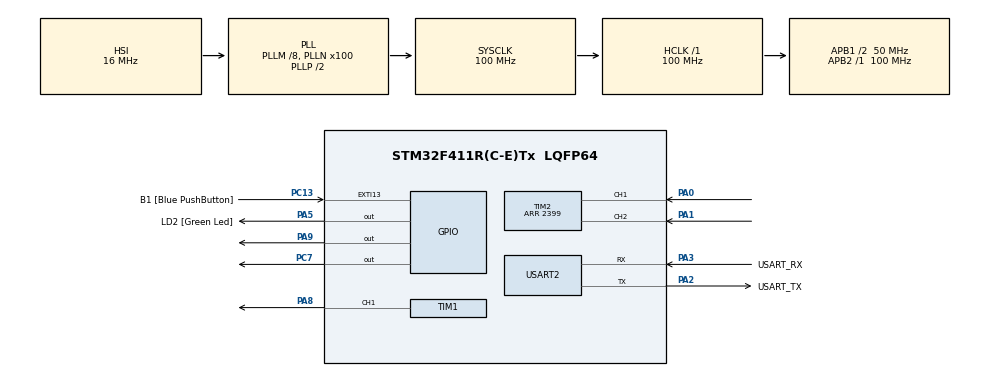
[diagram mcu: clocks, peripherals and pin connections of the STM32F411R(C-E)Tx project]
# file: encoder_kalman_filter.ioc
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Mcu.Family=STM32F4
Mcu.Name=STM32F411R(C-E)Tx
Mcu.Package=LQFP64
NVIC.EXTI15_10_IRQn=true\:0\:0\:false\:false\:true\:true\:true\:true
NVIC.PriorityGroup=NVIC_PRIORITYGROUP_0
NVIC.TIM1_BRK_TIM9_IRQn=true\:0\:0\:false\:false\:true\:true\:true\:true
NVIC.TIM1_TRG_COM_TIM11_IRQn=true\:0\:0\:false\:false\:true\:true\:true\:true
NVIC.TIM5_IRQn=true\:0\:0\:false\:false\:true\:true\:true\:true
NVIC.USART2_IRQn=true\:0\:0\:false\:false\:true\:true\:true\:true
PA0-WKUP.Signal=S_TIM2_CH1_ETR
PA1.Signal=S_TIM2_CH2
PA13.GPIO_Label=TMS
PA13.Mode=Serial_Wire
PA13.Signal=SYS_JTMS-SWDIO
PA14.GPIO_Label=TCK
PA14.Mode=Serial_Wire
PA14.Signal=SYS_JTCK-SWCLK
PA2.GPIO_Label=USART_TX
PA2.Mode=Asynchronous
PA2.Signal=USART2_TX
PA3.GPIO_Label=USART_RX
PA3.Mode=Asynchronous
PA3.Signal=USART2_RX
PA5.GPIO_Label=LD2 [Green Led]
PA5.Signal=GPIO_Output
PA8.Signal=S_TIM1_CH1
PA9.GPIO_ModeDefaultOutputPP=GPIO_MODE_OUTPUT_OD
PA9.GPIO_PuPd=GPIO_PULLUP
PA9.Signal=GPIO_Output
PB3.GPIO_Label=SWO
PB3.Signal=SYS_JTDO-SWO
PC13-ANTI_TAMP.GPIO_Label=B1 [Blue PushButton]
PC13-ANTI_TAMP.GPIO_ModeDefaultEXTI=GPIO_MODE_IT_FALLING
PC13-ANTI_TAMP.Signal=GPXTI13
PC14-OSC32_IN.Mode=LSE-External-Oscillator
PC14-OSC32_IN.Signal=RCC_OSC32_IN
PC15-OSC32_OUT.Mode=LSE-External-Oscillator
PC15-OSC32_OUT.Signal=RCC_OSC32_OUT
PC7.GPIO_ModeDefaultOutputPP=GPIO_MODE_OUTPUT_OD
PC7.GPIO_PuPd=GPIO_PULLUP
PC7.Signal=GPIO_Output
PH0\ -\ OSC_IN.Mode=HSE-External-Clock-Source
PH0\ -\ OSC_IN.Signal=RCC_OSC_IN
PH1\ -\ OSC_OUT.Mode=HSE-External-Clock-Source
PH1\ -\ OSC_OUT.Signal=RCC_OSC_OUT
ProjectManager.HeapSize=0x200
ProjectManager.StackSize=0x400
ProjectManager.TargetToolchain=STM32CubeIDE
RCC.48MHZClocksFreq_Value=50000000
RCC.AHBFreq_Value=100000000
RCC.APB1CLKDivider=RCC_HCLK_DIV2
RCC.APB1Freq_Value=50000000
RCC.APB1TimFreq_Value=100000000
RCC.APB2Freq_Value=100000000
RCC.APB2TimFreq_Value=100000000
RCC.CortexFreq_Value=100000000
RCC.FLatency-AdvancedSettings=FLASH_LATENCY_3
RCC.HCLKFreq_Value=100000000
RCC.HSE_VALUE=8000000
RCC.HSI_VALUE=16000000
RCC.PLLM=8
RCC.PLLN=100
RCC.SYSCLKFreq_VALUE=100000000
RCC.SYSCLKSource=RCC_SYSCLKSOURCE_PLLCLK
RCC.VCOOutputFreq_Value=200000000
SH.S_TIM1_CH1.0=TIM1_CH1,PWM Generation1 CH1
SH.S_TIM2_CH1_ETR.0=TIM2_CH1,Encoder_Interface
SH.S_TIM2_CH2.0=TIM2_CH2,Encoder_Interface
TIM1.Channel-PWM\ Generation1\ CH1=TIM_CHANNEL_1
TIM1.Period=9999
TIM1.Prescaler=99
TIM2.EncoderMode=TIM_ENCODERMODE_TI12
TIM2.IC1Filter=2
TIM2.IC1Polarity=TIM_ICPOLARITY_FALLING
TIM2.IC2Filter=2
TIM2.IC2Polarity=TIM_ICPOLARITY_FALLING
TIM2.Period=2399
TIM5.Period=999
TIM5.Prescaler=99
TIM9.Period=9999
TIM9.Prescaler=99
USART2.VirtualMode=VM_ASYNC
VP_TIM1_VS_ClockSourceINT.Mode=Internal
VP_TIM5_VS_ClockSourceINT.Mode=Internal
VP_TIM9_VS_ClockSourceINT.Mode=Internal
board=NUCLEO-F411RE

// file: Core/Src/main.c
/* USER CODE BEGIN Header */
/**
  ******************************************************************************
  * @file           : main.c
  * @brief          : Main program body
  ******************************************************************************
  * @attention
  *
  * Copyright (c) 2022 STMicroelectronics.
  * All rights reserved.
  *
  * This software is licensed under terms that can be found in the LICENSE file
  * in the root directory of this software component.
  * If no LICENSE file comes with this software, it is provided AS-IS.
  *
  ******************************************************************************
  */
/* USER CODE END Header */
#include "main.h"

/* USER CODE BEGIN Includes */
#include "math.h"
/* USER CODE END Includes */

TIM_HandleTypeDef htim1;
TIM_HandleTypeDef htim2;
TIM_HandleTypeDef htim5;
TIM_HandleTypeDef htim9;

UART_HandleTypeDef huart2;

/* USER CODE BEGIN PV */
float Nowdegrees = 0;
float Nowrads =0;

float GetRealdegrees();
float GetRealrads();

int PWM=3000;
void Drivemotor();

int PWMm=0;

//for uart
uint8_t datauartSetup[]={73,109,64,99,0b00010001, 16,1,1,42,42, 64,8,8,8,8,8,8,8,8,42,42, 8,64,42,42, 242,77,97,8,99,104,105,78,42,126, 42,42,16,1,1, 126,126};
uint8_t datauartSetup2[]={73,109,64,99,0b00010010, 8,43,42,42 , 242,32,77,97,8,99,104,105,78,42,126, 42,42, 18,88,42,42 ,111,32,32,32,32,42,42, 222,64,64,64,64,64,64,64,64,42,42, 8,42,   126,126};
//uint8_t datauartEncoder[]={73,109,64,99,0b00010011, 222,0,0,0,0,0,0,0,0,42,42 ,222,0,0,0,0,0,0,0,0,126,126};
uint8_t datauartEncoder[]={73,109,64,99,0b00010011, 16,1,1,126,126};
void sendUartToROS2();
/* USER CODE END PV */

void SystemClock_Config(void);
static void MX_GPIO_Init(void);
static void MX_USART2_UART_Init(void);
static void MX_TIM2_Init(void);
static void MX_TIM1_Init(void);
static void MX_TIM5_Init(void);
static void MX_TIM9_Init(void);

int main(void)
{

  /* MCU Configuration--------------------------------------------------------*/

  /* Reset of all peripherals, Initializes the Flash interface and the Systick. */
  HAL_Init();

  /* Configure the system clock */
  SystemClock_Config();

  /* Initialize all configured peripherals */
  MX_GPIO_Init();
  MX_USART2_UART_Init();
  MX_TIM2_Init();
  MX_TIM1_Init();
  MX_TIM5_Init();
  MX_TIM9_Init();
  /* USER CODE BEGIN 2 */

  HAL_TIM_Encoder_Start(&htim2, TIM_CHANNEL_ALL);
  HAL_TIM_Base_Start_IT(&htim5);
  HAL_TIM_PWM_Start(&htim1, TIM_CHANNEL_1);

  HAL_TIM_Base_Start_IT(&htim9);

  /* USER CODE END 2 */

  /* Infinite loop */
  /* USER CODE BEGIN WHILE */
  while (1)
  {

	  Nowdegrees=GetRealdegrees();
	  Nowrads=GetRealrads();
	  Drivemotor(PWMm);

    /* USER CODE END WHILE */

  }
}

void SystemClock_Config(void)
{
  RCC_OscInitTypeDef RCC_OscInitStruct = {0};
  RCC_ClkInitTypeDef RCC_ClkInitStruct = {0};

  /** Configure the main internal regulator output voltage
  */
  __HAL_RCC_PWR_CLK_ENABLE();
  __HAL_PWR_VOLTAGESCALING_CONFIG(PWR_REGULATOR_VOLTAGE_SCALE1);
  /** Initializes the RCC Oscillators according to the specified parameters
  * in the RCC_OscInitTypeDef structure.
  */
  RCC_OscInitStruct.OscillatorType = RCC_OSCILLATORTYPE_HSI;
  RCC_OscInitStruct.HSIState = RCC_HSI_ON;
  RCC_OscInitStruct.HSICalibrationValue = RCC_HSICALIBRATION_DEFAULT;
  RCC_OscInitStruct.PLL.PLLState = RCC_PLL_ON;
  RCC_OscInitStruct.PLL.PLLSource = RCC_PLLSOURCE_HSI;
  RCC_OscInitStruct.PLL.PLLM = 8;
  RCC_OscInitStruct.PLL.PLLN = 100;
  RCC_OscInitStruct.PLL.PLLP = RCC_PLLP_DIV2;
  RCC_OscInitStruct.PLL.PLLQ = 4;
  if (HAL_RCC_OscConfig(&RCC_OscInitStruct) != HAL_OK)
  {
    Error_Handler();
  }
  /** Initializes the CPU, AHB and APB buses clocks
  */
  RCC_ClkInitStruct.ClockType = RCC_CLOCKTYPE_HCLK|RCC_CLOCKTYPE_SYSCLK
                              |RCC_CLOCKTYPE_PCLK1|RCC_CLOCKTYPE_PCLK2;
  RCC_ClkInitStruct.SYSCLKSource = RCC_SYSCLKSOURCE_PLLCLK;
  RCC_ClkInitStruct.AHBCLKDivider = RCC_SYSCLK_DIV1;
  RCC_ClkInitStruct.APB1CLKDivider = RCC_HCLK_DIV2;
  RCC_ClkInitStruct.APB2CLKDivider = RCC_HCLK_DIV1;

  if (HAL_RCC_ClockConfig(&RCC_ClkInitStruct, FLASH_LATENCY_3) != HAL_OK)
  {
    Error_Handler();
  }
}

static void MX_TIM1_Init(void)
{

  TIM_ClockConfigTypeDef sClockSourceConfig = {0};
  TIM_MasterConfigTypeDef sMasterConfig = {0};
  TIM_OC_InitTypeDef sConfigOC = {0};
  TIM_BreakDeadTimeConfigTypeDef sBreakDeadTimeConfig = {0};

  htim1.Instance = TIM1;
  htim1.Init.Prescaler = 99;
  htim1.Init.CounterMode = TIM_COUNTERMODE_UP;
  htim1.Init.Period = 9999;
  htim1.Init.ClockDivision = TIM_CLOCKDIVISION_DIV1;
  htim1.Init.RepetitionCounter = 0;
  htim1.Init.AutoReloadPreload = TIM_AUTORELOAD_PRELOAD_DISABLE;
  if (HAL_TIM_Base_Init(&htim1) != HAL_OK)
  {
    Error_Handler();
  }
  sClockSourceConfig.ClockSource = TIM_CLOCKSOURCE_INTERNAL;
  if (HAL_TIM_ConfigClockSource(&htim1, &sClockSourceConfig) != HAL_OK)
  {
    Error_Handler();
  }
  if (HAL_TIM_PWM_Init(&htim1) != HAL_OK)
  {
    Error_Handler();
  }
  sMasterConfig.MasterOutputTrigger = TIM_TRGO_RESET;
  sMasterConfig.MasterSlaveMode = TIM_MASTERSLAVEMODE_DISABLE;
  if (HAL_TIMEx_MasterConfigSynchronization(&htim1, &sMasterConfig) != HAL_OK)
  {
    Error_Handler();
  }
  sConfigOC.OCMode = TIM_OCMODE_PWM1;
  sConfigOC.Pulse = 0;
  sConfigOC.OCPolarity = TIM_OCPOLARITY_HIGH;
  sConfigOC.OCNPolarity = TIM_OCNPOLARITY_HIGH;
  sConfigOC.OCFastMode = TIM_OCFAST_DISABLE;
  sConfigOC.OCIdleState = TIM_OCIDLESTATE_RESET;
  sConfigOC.OCNIdleState = TIM_OCNIDLESTATE_RESET;
  if (HAL_TIM_PWM_ConfigChannel(&htim1, &sConfigOC, TIM_CHANNEL_1) != HAL_OK)
  {
    Error_Handler();
  }
  sBreakDeadTimeConfig.OffStateRunMode = TIM_OSSR_DISABLE;
  sBreakDeadTimeConfig.OffStateIDLEMode = TIM_OSSI_DISABLE;
  sBreakDeadTimeConfig.LockLevel = TIM_LOCKLEVEL_OFF;
  sBreakDeadTimeConfig.DeadTime = 0;
  sBreakDeadTimeConfig.BreakState = TIM_BREAK_DISABLE;
  sBreakDeadTimeConfig.BreakPolarity = TIM_BREAKPOLARITY_HIGH;
  sBreakDeadTimeConfig.AutomaticOutput = TIM_AUTOMATICOUTPUT_DISABLE;
  if (HAL_TIMEx_ConfigBreakDeadTime(&htim1, &sBreakDeadTimeConfig) != HAL_OK)
  {
    Error_Handler();
  }
  HAL_TIM_MspPostInit(&htim1);

}

static void MX_TIM2_Init(void)
{

  TIM_Encoder_InitTypeDef sConfig = {0};
  TIM_MasterConfigTypeDef sMasterConfig = {0};

  htim2.Instance = TIM2;
  htim2.Init.Prescaler = 0;
  htim2.Init.CounterMode = TIM_COUNTERMODE_UP;
  htim2.Init.Period = 2399;
  htim2.Init.ClockDivision = TIM_CLOCKDIVISION_DIV1;
  htim2.Init.AutoReloadPreload = TIM_AUTORELOAD_PRELOAD_DISABLE;
  sConfig.EncoderMode = TIM_ENCODERMODE_TI12;
  sConfig.IC1Polarity = TIM_ICPOLARITY_FALLING;
  sConfig.IC1Selection = TIM_ICSELECTION_DIRECTTI;
  sConfig.IC1Prescaler = TIM_ICPSC_DIV1;
  sConfig.IC1Filter = 2;
  sConfig.IC2Polarity = TIM_ICPOLARITY_FALLING;
  sConfig.IC2Selection = TIM_ICSELECTION_DIRECTTI;
  sConfig.IC2Prescaler = TIM_ICPSC_DIV1;
  sConfig.IC2Filter = 2;
  if (HAL_TIM_Encoder_Init(&htim2, &sConfig) != HAL_OK)
  {
    Error_Handler();
  }
  sMasterConfig.MasterOutputTrigger = TIM_TRGO_RESET;
  sMasterConfig.MasterSlaveMode = TIM_MASTERSLAVEMODE_DISABLE;
  if (HAL_TIMEx_MasterConfigSynchronization(&htim2, &sMasterConfig) != HAL_OK)
  {
    Error_Handler();
  }

}

static void MX_TIM5_Init(void)
{

  TIM_ClockConfigTypeDef sClockSourceConfig = {0};
  TIM_MasterConfigTypeDef sMasterConfig = {0};

  htim5.Instance = TIM5;
  htim5.Init.Prescaler = 99;
  htim5.Init.CounterMode = TIM_COUNTERMODE_UP;
  htim5.Init.Period = 999;
  htim5.Init.ClockDivision = TIM_CLOCKDIVISION_DIV1;
  htim5.Init.AutoReloadPreload = TIM_AUTORELOAD_PRELOAD_DISABLE;
  if (HAL_TIM_Base_Init(&htim5) != HAL_OK)
  {
    Error_Handler();
  }
  sClockSourceConfig.ClockSource = TIM_CLOCKSOURCE_INTERNAL;
  if (HAL_TIM_ConfigClockSource(&htim5, &sClockSourceConfig) != HAL_OK)
  {
    Error_Handler();
  }
  sMasterConfig.MasterOutputTrigger = TIM_TRGO_RESET;
  sMasterConfig.MasterSlaveMode = TIM_MASTERSLAVEMODE_DISABLE;
  if (HAL_TIMEx_MasterConfigSynchronization(&htim5, &sMasterConfig) != HAL_OK)
  {
    Error_Handler();
  }

}

static void MX_TIM9_Init(void)
{

  TIM_ClockConfigTypeDef sClockSourceConfig = {0};

  htim9.Instance = TIM9;
  htim9.Init.Prescaler = 99;
  htim9.Init.CounterMode = TIM_COUNTERMODE_UP;
  htim9.Init.Period = 9999;
  htim9.Init.ClockDivision = TIM_CLOCKDIVISION_DIV1;
  htim9.Init.AutoReloadPreload = TIM_AUTORELOAD_PRELOAD_DISABLE;
  if (HAL_TIM_Base_Init(&htim9) != HAL_OK)
  {
    Error_Handler();
  }
  sClockSourceConfig.ClockSource = TIM_CLOCKSOURCE_INTERNAL;
  if (HAL_TIM_ConfigClockSource(&htim9, &sClockSourceConfig) != HAL_OK)
  {
    Error_Handler();
  }

}

static void MX_USART2_UART_Init(void)
{

  huart2.Instance = USART2;
  huart2.Init.BaudRate = 115200;
  huart2.Init.WordLength = UART_WORDLENGTH_8B;
  huart2.Init.StopBits = UART_STOPBITS_1;
  huart2.Init.Parity = UART_PARITY_NONE;
  huart2.Init.Mode = UART_MODE_TX_RX;
  huart2.Init.HwFlowCtl = UART_HWCONTROL_NONE;
  huart2.Init.OverSampling = UART_OVERSAMPLING_16;
  if (HAL_UART_Init(&huart2) != HAL_OK)
  {
    Error_Handler();
  }

}

static void MX_GPIO_Init(void)
{
  GPIO_InitTypeDef GPIO_InitStruct = {0};

  /* GPIO Ports Clock Enable */
  __HAL_RCC_GPIOC_CLK_ENABLE();
  __HAL_RCC_GPIOH_CLK_ENABLE();
  __HAL_RCC_GPIOA_CLK_ENABLE();
  __HAL_RCC_GPIOB_CLK_ENABLE();

  /*Configure GPIO pin Output Level */
  HAL_GPIO_WritePin(GPIOA, LD2_Pin|GPIO_PIN_9, GPIO_PIN_RESET);

  /*Configure GPIO pin Output Level */
  HAL_GPIO_WritePin(GPIOC, GPIO_PIN_7, GPIO_PIN_RESET);

  /*Configure GPIO pin : B1_Pin */
  GPIO_InitStruct.Pin = B1_Pin;
  GPIO_InitStruct.Mode = GPIO_MODE_IT_FALLING;
  GPIO_InitStruct.Pull = GPIO_NOPULL;
  HAL_GPIO_Init(B1_GPIO_Port, &GPIO_InitStruct);

  /*Configure GPIO pin : LD2_Pin */
  GPIO_InitStruct.Pin = LD2_Pin;
  GPIO_InitStruct.Mode = GPIO_MODE_OUTPUT_PP;
  GPIO_InitStruct.Pull = GPIO_NOPULL;
  GPIO_InitStruct.Speed = GPIO_SPEED_FREQ_LOW;
  HAL_GPIO_Init(LD2_GPIO_Port, &GPIO_InitStruct);

  /*Configure GPIO pin : PC7 */
  GPIO_InitStruct.Pin = GPIO_PIN_7;
  GPIO_InitStruct.Mode = GPIO_MODE_OUTPUT_OD;
  GPIO_InitStruct.Pull = GPIO_PULLUP;
  GPIO_InitStruct.Speed = GPIO_SPEED_FREQ_LOW;
  HAL_GPIO_Init(GPIOC, &GPIO_InitStruct);

  /*Configure GPIO pin : PA9 */
  GPIO_InitStruct.Pin = GPIO_PIN_9;
  GPIO_InitStruct.Mode = GPIO_MODE_OUTPUT_OD;
  GPIO_InitStruct.Pull = GPIO_PULLUP;
  GPIO_InitStruct.Speed = GPIO_SPEED_FREQ_LOW;
  HAL_GPIO_Init(GPIOA, &GPIO_InitStruct);

  /* EXTI interrupt init*/
  HAL_NVIC_SetPriority(EXTI15_10_IRQn, 0, 0);
  HAL_NVIC_EnableIRQ(EXTI15_10_IRQn);

}

/* USER CODE BEGIN 4 */

int diffen=0;
uint16_t ennow=0;
uint16_t enpre=0;
int roundOfencoder=0;
void Unwrap(){
	ennow=htim2.Instance->CNT;
	diffen=ennow-enpre;
	if(diffen>1200){
		roundOfencoder=roundOfencoder-1;
	}else if (-diffen>1200) {
		roundOfencoder=roundOfencoder+1;
	}
	enpre=ennow;
}
float GetRealdegrees(){

	return (roundOfencoder*360)+ ((htim2.Instance->CNT*360.00)/2399.00);
}
float GetRealrads(){
	return (roundOfencoder*2*3.1415926535897932384626)+( (htim2.Instance->CNT*2*3.1415926535897932384626)/2399.00);
}

double t= 0.0001;
double StateTheta=0;
double StateOmega=0;
double ThetaPre=0;
double OmegaPre=0;
double YTheta_telda=0;

double CP11 =0;
double CP12 =0;
double CP21 =0;
double CP22 =0;

double CPpre11 =0;
double CPpre12 =0;
double CPpre21 =0;
double CPpre22 =0;

double G=1;
double R=1;

double K11=0;
double K21=0;

double gg=10;
double rr=0.1;

double ThetaPredict=0;
double OmegaPredict=0;
void Kalman(){

	G=pow(gg,2);
	R=pow(rr,2);
	StateTheta= ThetaPre  + (OmegaPre * t);
	StateOmega= OmegaPre;
	YTheta_telda = GetRealrads() - ThetaPre;
	CP11= CPpre11 + (CPpre12 * t) + (CPpre22*pow(t,2)) + (CPpre21*t) + (  (G*pow(t,4)/4 )   );

	CP12 = CPpre12 + (CPpre22*t) +(  (G*pow(t,3)/2 )   );

	CP21 = (  (G*pow(t,3)/2 )   ) + (CPpre22*t) + CPpre21;

	CP22 = CPpre22 + (G*pow(t,2));

	K11= CP11/(CP11+R);
	K21=CP21/(CP11+R);

	ThetaPredict= StateTheta + (YTheta_telda*K11);
	OmegaPredict= StateOmega + (YTheta_telda*K21);

	CPpre11= -1*(  (CP11/(CP11+R) ) -1)*CP11;
	CPpre12= -1*(  (CP11/(CP11+R) ) -1)* CP12;
	CPpre21= CP21 - (  (CP21*CP11)/(CP11+R)    );

	CPpre22= CP22 -  (  (CP12*CP21)/(CP11+R)    );

	//update value
	ThetaPre=ThetaPredict;
	OmegaPre=OmegaPredict;

}
//timer interrupt callback
void HAL_TIM_PeriodElapsedCallback(TIM_HandleTypeDef *htim){
	if (htim == &htim5){
		Unwrap();
		Kalman();
	}else if(htim == &htim9){
		sendUartToROS2();
	}
}

//togle motor start stop
void togle(){
	static uint8_t t=0;
	if(t==0){
		t=1;
		PWMm=PWM;
	}else{
		t=0;
		PWMm=0;
	}

}

//exit callback
void HAL_GPIO_EXTI_Callback(uint16_t GPIO_Pin){
	if(GPIO_Pin==GPIO_PIN_13){
		togle();
	}
}

uint32_t aaabs(int x){

	if(x<0){
		return x*-1;
	}else{
		return x;
	}
}

//drive motor
void Drivemotor(int PWM){
	if(PWM<=0 && PWM>=-10000){
		htim1.Instance->CCR1=aaabs(PWM);
		HAL_GPIO_WritePin(GPIOA, GPIO_PIN_9,1);
		HAL_GPIO_WritePin(GPIOC, GPIO_PIN_7,0);
	}else if (PWM<-10000){
		htim1.Instance->CCR1=10000;
		HAL_GPIO_WritePin(GPIOA, GPIO_PIN_9,1);
		HAL_GPIO_WritePin(GPIOC, GPIO_PIN_7,0);
	}else if(PWM>=0 && PWM<=10000){
		htim1.Instance->CCR1=aaabs(PWM);
		HAL_GPIO_WritePin(GPIOA, GPIO_PIN_9,0);
		HAL_GPIO_WritePin(GPIOC, GPIO_PIN_7,1);
	}else if(PWM>10000){
		htim1.Instance->CCR1=10000;
		HAL_GPIO_WritePin(GPIOA, GPIO_PIN_9,0);
		HAL_GPIO_WritePin(GPIOC, GPIO_PIN_7,1);
	}

}

uint16_t value=0;
//Mark_serial_protocol
void sendUartToROS2(){
	static uint8_t q=0;

//	datauartSetup[6]=0; //high byte
//	datauartSetup[7]=q; //low byte
//	HAL_UART_Transmit_IT(&huart2, datauartSetup2, sizeof(datauartSetup2));
//
//	HAL_UART_Transmit_IT(&huart2, datauartSetup, sizeof(datauartSetup));

//	datauartEncoder[6]=((uint64_t)ThetaPre>>56) &0b11111111;
//	datauartEncoder[7]=((uint64_t)ThetaPre>>48) &0b11111111;
//	datauartEncoder[8]=((uint64_t)ThetaPre>>40)&0b11111111;
//	datauartEncoder[9]=((uint64_t)ThetaPre>>32)&0b11111111;
//	datauartEncoder[10]=((uint64_t)ThetaPre>>24)&0b11111111;
//	datauartEncoder[11]=((uint64_t)ThetaPre>>16)&0b11111111;
//	datauartEncoder[12]=((uint64_t)ThetaPre>>8)&0b11111111;
//	datauartEncoder[13]=(uint64_t)ThetaPre&0b11111111;
//
//	datauartEncoder[17]=OmegaPre;
	value=htim2.Instance->CNT;
	datauartEncoder[6]=(value&0b1111111100000000) >>8;
	datauartEncoder[7]=value&0b11111111;

	HAL_UART_Transmit_IT(&huart2, datauartEncoder, sizeof(datauartEncoder));

	q=(q+1)%255;

}

/* USER CODE END 4 */

void Error_Handler(void)
{
  __disable_irq();
  while (1)
  {
  }
}
